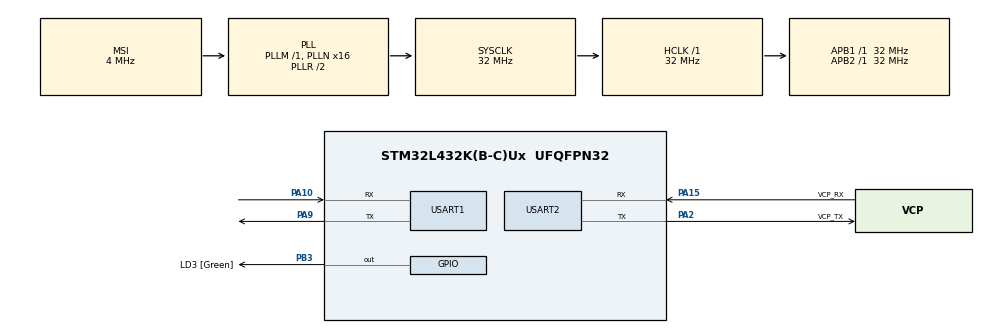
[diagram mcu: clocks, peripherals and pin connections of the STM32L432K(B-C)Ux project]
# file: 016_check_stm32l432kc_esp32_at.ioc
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Dma.Request0=USART1_RX
Dma.Request1=USART1_TX
Dma.USART1_RX.0.Direction=DMA_PERIPH_TO_MEMORY
Dma.USART1_RX.0.Instance=DMA1_Channel5
Dma.USART1_RX.0.MemDataAlignment=DMA_MDATAALIGN_BYTE
Dma.USART1_RX.0.MemInc=DMA_MINC_ENABLE
Dma.USART1_RX.0.Mode=DMA_NORMAL
Dma.USART1_RX.0.PeriphDataAlignment=DMA_PDATAALIGN_BYTE
Dma.USART1_RX.0.PeriphInc=DMA_PINC_DISABLE
Dma.USART1_RX.0.Priority=DMA_PRIORITY_LOW
Dma.USART1_TX.1.Direction=DMA_MEMORY_TO_PERIPH
Dma.USART1_TX.1.Instance=DMA1_Channel4
Dma.USART1_TX.1.MemDataAlignment=DMA_MDATAALIGN_BYTE
Dma.USART1_TX.1.MemInc=DMA_MINC_ENABLE
Dma.USART1_TX.1.Mode=DMA_NORMAL
Dma.USART1_TX.1.PeriphDataAlignment=DMA_PDATAALIGN_BYTE
Dma.USART1_TX.1.PeriphInc=DMA_PINC_DISABLE
Dma.USART1_TX.1.Priority=DMA_PRIORITY_LOW
Mcu.Family=STM32L4
Mcu.Name=STM32L432K(B-C)Ux
Mcu.Package=UFQFPN32
NVIC.DMA1_Channel4_IRQn=true\:0\:0\:false\:false\:true\:false\:true\:true
NVIC.DMA1_Channel5_IRQn=true\:0\:0\:false\:false\:true\:false\:true\:true
NVIC.PriorityGroup=NVIC_PRIORITYGROUP_4
NVIC.USART1_IRQn=true\:0\:0\:false\:false\:true\:true\:true\:true
NVIC.USART2_IRQn=true\:0\:0\:false\:false\:true\:true\:true\:true
PA0.GPIO_Label=MCO [High speed clock in]
PA0.Mode=HSE-External-Clock-Source-for-LittleOrca
PA0.Signal=RCC_CK_IN
PA10.Mode=Asynchronous
PA10.Signal=USART1_RX
PA13\ (JTMS-SWDIO).GPIO_Label=SWDIO
PA13\ (JTMS-SWDIO).Mode=Serial_Wire
PA13\ (JTMS-SWDIO).Signal=SYS_JTMS-SWDIO
PA14\ (JTCK-SWCLK).GPIO_Label=SWCLK
PA14\ (JTCK-SWCLK).Mode=Serial_Wire
PA14\ (JTCK-SWCLK).Signal=SYS_JTCK-SWCLK
PA15\ (JTDI).GPIO_Label=VCP_RX
PA15\ (JTDI).Mode=Asynchronous
PA15\ (JTDI).Signal=USART2_RX
PA2.GPIO_Label=VCP_TX
PA2.Mode=Asynchronous
PA2.Signal=USART2_TX
PA9.Mode=Asynchronous
PA9.Signal=USART1_TX
PB3\ (JTDO-TRACESWO).GPIO_Label=LD3 [Green]
PB3\ (JTDO-TRACESWO).Signal=GPIO_Output
PC14-OSC32_IN\ (PC14).Mode=LSE-External-Oscillator
PC14-OSC32_IN\ (PC14).Signal=RCC_OSC32_IN
PC15-OSC32_OUT\ (PC15).Mode=LSE-External-Oscillator
PC15-OSC32_OUT\ (PC15).Signal=RCC_OSC32_OUT
ProjectManager.HeapSize=0x200
ProjectManager.StackSize=0x400
ProjectManager.TargetToolchain=STM32CubeIDE
RCC.AHBFreq_Value=32000000
RCC.APB1Freq_Value=32000000
RCC.APB1TimFreq_Value=32000000
RCC.APB2Freq_Value=32000000
RCC.APB2TimFreq_Value=32000000
RCC.CortexFreq_Value=32000000
RCC.HCLKFreq_Value=32000000
RCC.HSE_VALUE=8000000
RCC.HSI16_VALUE=16000000
RCC.HSI48_VALUE=48000000
RCC.HSI_VALUE=16000000
RCC.MSI_VALUE=4000000
RCC.PLLMUL=RCC_PLLMUL_4
RCC.PLLN=16
RCC.SYSCLKFreq_VALUE=32000000
RCC.SYSCLKSource=RCC_SYSCLKSOURCE_PLLCLK
RCC.VCOOutputFreq_Value=64000000
USART1.VirtualMode-Asynchronous=VM_ASYNC
USART2.VirtualMode-Asynchronous=VM_ASYNC
board=NUCLEO-L432KC

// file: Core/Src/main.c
/* USER CODE BEGIN Header */
/**
  ******************************************************************************
  * @file           : main.c
  * @brief          : Main program body
  ******************************************************************************
  * @attention
  *
  * Copyright (c) 2025 STMicroelectronics.
  * All rights reserved.
  *
  * This software is licensed under terms that can be found in the LICENSE file
  * in the root directory of this software component.
  * If no LICENSE file comes with this software, it is provided AS-IS.
  *
  ******************************************************************************
  ******************************************************************************
  * huart2 -> serial console
  * huart1 -> esp32
  */
/* USER CODE END Header */
#include "main.h"

/* USER CODE BEGIN Includes */
#include "ringbuffer.h"
#include "esp8266_stm32.h"
#include <stdio.h>
#include <string.h>
/* USER CODE END Includes */

/* USER CODE BEGIN PD */
#define WELCOME_MSG "Welcome to the Nucleo management console\r\n"
#define MAIN_MENU   "Select the option you are interested in:\r\n\t1. Toggle LD2 LED\r\n\t2. Read USER BUTTON status\r\n\t3. Clear screen and print this message "
#define PROMPT "\r\n> "
/* USER CODE END PD */

/* USER CODE BEGIN PM */
char readBuf[1];
uint8_t txData;
__IO ITStatus UartReady = SET;
__IO ITStatus UartTxComplete = SET;
RingBuffer txBuf, rxBuf;
/* USER CODE END PM */

UART_HandleTypeDef huart1;
UART_HandleTypeDef huart2;
DMA_HandleTypeDef hdma_usart1_rx;
DMA_HandleTypeDef hdma_usart1_tx;

void SystemClock_Config(void);
static void MX_GPIO_Init(void);
static void MX_DMA_Init(void);
static void MX_USART2_UART_Init(void);
static void MX_USART1_UART_Init(void);
/* USER CODE BEGIN PFP */
int _write(int file, char *ptr, int len)
{
  if (UART_Transmit(&huart2, (uint8_t *)ptr, len))
  {
    // Wait for transmission to complete to ensure log integrity
    while (UartTxComplete == RESET || RingBuffer_GetDataLength(&txBuf) > 0)
    {
      // Allow other interrupts to process
      __NOP();
    }
    return len;
  }
  return 0; // Return 0 on failure
}

char ip_buf[16];
/* USER CODE END PFP */

int main(void)
{

  /* MCU Configuration--------------------------------------------------------*/

  /* Reset of all peripherals, Initializes the Flash interface and the Systick. */
  HAL_Init();

  /* Configure the system clock */
  SystemClock_Config();

  /* Initialize all configured peripherals */
  MX_GPIO_Init();
  MX_DMA_Init();
  MX_USART2_UART_Init();
  MX_USART1_UART_Init();
  /* USER CODE BEGIN 2 */
  RingBuffer_Init(&txBuf);
  RingBuffer_Init(&rxBuf);

  UART_Transmit(&huart2, (uint8_t*)WELCOME_MSG, strlen(WELCOME_MSG));

  if (ESP_Init() != ESP8266_OK)
  {
    USER_LOG("Failed to initialize... Check Debug logs");
    Error_Handler();
  }

  if (ESP_ConnectWiFi("Arun_Rawat", "arun@321", ip_buf, sizeof(ip_buf)) != ESP8266_OK)
  {
    USER_LOG("Failed to connect to wifi... Check Debug logs");
    Error_Handler();
  }
  /* USER CODE END 2 */

  /* Infinite loop */
  while (1)
  {

  }
}

void SystemClock_Config(void)
{
  RCC_OscInitTypeDef RCC_OscInitStruct = {0};
  RCC_ClkInitTypeDef RCC_ClkInitStruct = {0};

  /** Configure the main internal regulator output voltage
  */
  if (HAL_PWREx_ControlVoltageScaling(PWR_REGULATOR_VOLTAGE_SCALE1) != HAL_OK)
  {
    Error_Handler();
  }

  /** Configure LSE Drive Capability
  */
  HAL_PWR_EnableBkUpAccess();
  __HAL_RCC_LSEDRIVE_CONFIG(RCC_LSEDRIVE_LOW);

  /** Initializes the RCC Oscillators according to the specified parameters
  * in the RCC_OscInitTypeDef structure.
  */
  RCC_OscInitStruct.OscillatorType = RCC_OSCILLATORTYPE_LSE|RCC_OSCILLATORTYPE_MSI;
  RCC_OscInitStruct.LSEState = RCC_LSE_ON;
  RCC_OscInitStruct.MSIState = RCC_MSI_ON;
  RCC_OscInitStruct.MSICalibrationValue = 0;
  RCC_OscInitStruct.MSIClockRange = RCC_MSIRANGE_6;
  RCC_OscInitStruct.PLL.PLLState = RCC_PLL_ON;
  RCC_OscInitStruct.PLL.PLLSource = RCC_PLLSOURCE_MSI;
  RCC_OscInitStruct.PLL.PLLM = 1;
  RCC_OscInitStruct.PLL.PLLN = 16;
  RCC_OscInitStruct.PLL.PLLP = RCC_PLLP_DIV7;
  RCC_OscInitStruct.PLL.PLLQ = RCC_PLLQ_DIV2;
  RCC_OscInitStruct.PLL.PLLR = RCC_PLLR_DIV2;
  if (HAL_RCC_OscConfig(&RCC_OscInitStruct) != HAL_OK)
  {
    Error_Handler();
  }

  /** Initializes the CPU, AHB and APB buses clocks
  */
  RCC_ClkInitStruct.ClockType = RCC_CLOCKTYPE_HCLK|RCC_CLOCKTYPE_SYSCLK
                              |RCC_CLOCKTYPE_PCLK1|RCC_CLOCKTYPE_PCLK2;
  RCC_ClkInitStruct.SYSCLKSource = RCC_SYSCLKSOURCE_PLLCLK;
  RCC_ClkInitStruct.AHBCLKDivider = RCC_SYSCLK_DIV1;
  RCC_ClkInitStruct.APB1CLKDivider = RCC_HCLK_DIV1;
  RCC_ClkInitStruct.APB2CLKDivider = RCC_HCLK_DIV1;

  if (HAL_RCC_ClockConfig(&RCC_ClkInitStruct, FLASH_LATENCY_1) != HAL_OK)
  {
    Error_Handler();
  }

  /** Enable MSI Auto calibration
  */
  HAL_RCCEx_EnableMSIPLLMode();
}

static void MX_USART1_UART_Init(void)
{

  huart1.Instance = USART1;
  huart1.Init.BaudRate = 115200;
  huart1.Init.WordLength = UART_WORDLENGTH_8B;
  huart1.Init.StopBits = UART_STOPBITS_1;
  huart1.Init.Parity = UART_PARITY_NONE;
  huart1.Init.Mode = UART_MODE_TX_RX;
  huart1.Init.HwFlowCtl = UART_HWCONTROL_NONE;
  huart1.Init.OverSampling = UART_OVERSAMPLING_16;
  huart1.Init.OneBitSampling = UART_ONE_BIT_SAMPLE_DISABLE;
  huart1.AdvancedInit.AdvFeatureInit = UART_ADVFEATURE_NO_INIT;
  if (HAL_UART_Init(&huart1) != HAL_OK)
  {
    Error_Handler();
  }

}

static void MX_USART2_UART_Init(void)
{

  huart2.Instance = USART2;
  huart2.Init.BaudRate = 115200;
  huart2.Init.WordLength = UART_WORDLENGTH_8B;
  huart2.Init.StopBits = UART_STOPBITS_1;
  huart2.Init.Parity = UART_PARITY_NONE;
  huart2.Init.Mode = UART_MODE_TX_RX;
  huart2.Init.HwFlowCtl = UART_HWCONTROL_NONE;
  huart2.Init.OverSampling = UART_OVERSAMPLING_16;
  huart2.Init.OneBitSampling = UART_ONE_BIT_SAMPLE_DISABLE;
  huart2.AdvancedInit.AdvFeatureInit = UART_ADVFEATURE_NO_INIT;
  if (HAL_UART_Init(&huart2) != HAL_OK)
  {
    Error_Handler();
  }

}

static void MX_DMA_Init(void)
{

  /* DMA controller clock enable */
  __HAL_RCC_DMA1_CLK_ENABLE();

  /* DMA interrupt init */
  /* DMA1_Channel4_IRQn interrupt configuration */
  HAL_NVIC_SetPriority(DMA1_Channel4_IRQn, 0, 0);
  HAL_NVIC_EnableIRQ(DMA1_Channel4_IRQn);
  /* DMA1_Channel5_IRQn interrupt configuration */
  HAL_NVIC_SetPriority(DMA1_Channel5_IRQn, 0, 0);
  HAL_NVIC_EnableIRQ(DMA1_Channel5_IRQn);

}

static void MX_GPIO_Init(void)
{
  GPIO_InitTypeDef GPIO_InitStruct = {0};

  /* GPIO Ports Clock Enable */
  __HAL_RCC_GPIOC_CLK_ENABLE();
  __HAL_RCC_GPIOA_CLK_ENABLE();
  __HAL_RCC_GPIOB_CLK_ENABLE();

  /*Configure GPIO pin Output Level */
  HAL_GPIO_WritePin(LD3_GPIO_Port, LD3_Pin, GPIO_PIN_RESET);

  /*Configure GPIO pin : LD3_Pin */
  GPIO_InitStruct.Pin = LD3_Pin;
  GPIO_InitStruct.Mode = GPIO_MODE_OUTPUT_PP;
  GPIO_InitStruct.Pull = GPIO_NOPULL;
  GPIO_InitStruct.Speed = GPIO_SPEED_FREQ_LOW;
  HAL_GPIO_Init(LD3_GPIO_Port, &GPIO_InitStruct);

}

/* USER CODE BEGIN 4 */
uint8_t UART_Transmit(UART_HandleTypeDef *huart, uint8_t *pData, uint16_t len)
{
  UartTxComplete = RESET; // Mark transmission as in progress
  if (HAL_UART_Transmit_IT(huart, pData, len) != HAL_OK)
  {
    if (RingBuffer_Write(&txBuf, pData, len) != RING_BUFFER_OK)
      return 0;
  }
  return 1;
}

void HAL_UART_RxCpltCallback(UART_HandleTypeDef *UartHandle)
{
  /* Set transmission flag: transfer complete*/
  UartReady = SET;
}

void HAL_UART_TxCpltCallback(UART_HandleTypeDef *huart)
{
  if (huart == &huart2)
  {
    if (RingBuffer_GetDataLength(&txBuf) > 0)
    {
      RingBuffer_Read(&txBuf, &txData, 1);
      HAL_UART_Transmit_IT(huart, &txData, 1);
    }
    else
    {
      UartTxComplete = SET; // Mark transmission as complete when buffer is empty
    }
  }
}

void HAL_UART_RxHalfCpltCallback(UART_HandleTypeDef *huart)
{
  if (huart == &huart1)
  {
    // UART4 DMA RX half complete - update tail pointer for circular buffer
    // This helps in handling continuous reception
  }
}

void HAL_UART_ErrorCallback(UART_HandleTypeDef *huart)
{
  if (huart == &huart1)
  {
    // Handle UART4 errors - restart DMA reception if needed
    HAL_UART_DMAStop(&huart1);
    ESP_DMA_StartReceive();
  }
}

/* USER CODE END 4 */

void Error_Handler(void)
{
  __disable_irq();
  while (1)
  {
  }
}
